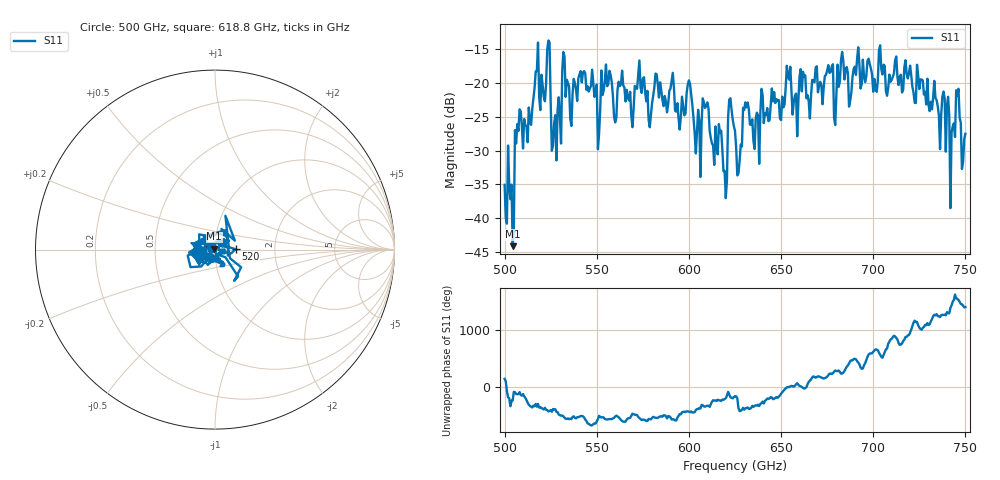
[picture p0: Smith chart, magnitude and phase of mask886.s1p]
!Created with skrf (http://scikit-rf.org).
# GHz S MA R 50.0
!freq magS11 angS11
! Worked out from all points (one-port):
!   401 points, 500 GHz to 750 GHz, reference 50 ohm
!   lowest |S11| = -44.1 dB at 504.4 GHz (marker M1), VSWR 1.01, Z = 49.6 + j0.456 ohm
!   |S11| at or under -10 dB: start of sweep to end of sweep
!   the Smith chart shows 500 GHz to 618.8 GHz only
!   S11 on the Smith chart (normalised r, x): 500 GHz: 0.97, +0.02; 520 GHz: 1.26, +0.01; 618.8 GHz: 0.96, +0.02
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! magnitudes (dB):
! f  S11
! 500 GHz  -35.1
! 504.4 GHz  -44.1
! 506.9 GHz  -26.1
! 513.1 GHz  -23.7
! 516.9 GHz  -18.4
! 520 GHz  -18.8
! 523.8 GHz  -13.8
! 526.9 GHz  -26.0
! 531.2 GHz  -18.3
! 542.5 GHz  -18.5
! 550.6 GHz  -29.8
! 562.5 GHz  -20.5
! 579.4 GHz  -24.8
! 590.6 GHz  -19.7
! 593.8 GHz  -23.0
! 600 GHz  -19.7
! 605 GHz  -24.0
! 608.8 GHz  -23.7
! 618.8 GHz  -33.0
! 622.5 GHz  -22.3
! 625 GHz  -27.1
! 656.2 GHz  -24.7
! 683.8 GHz  -16.8
! 687.5 GHz  -22.7
! 718.8 GHz  -19.4
! 743.1 GHz  -26.5
! 746.2 GHz  -20.9
! 750 GHz  -27.5
